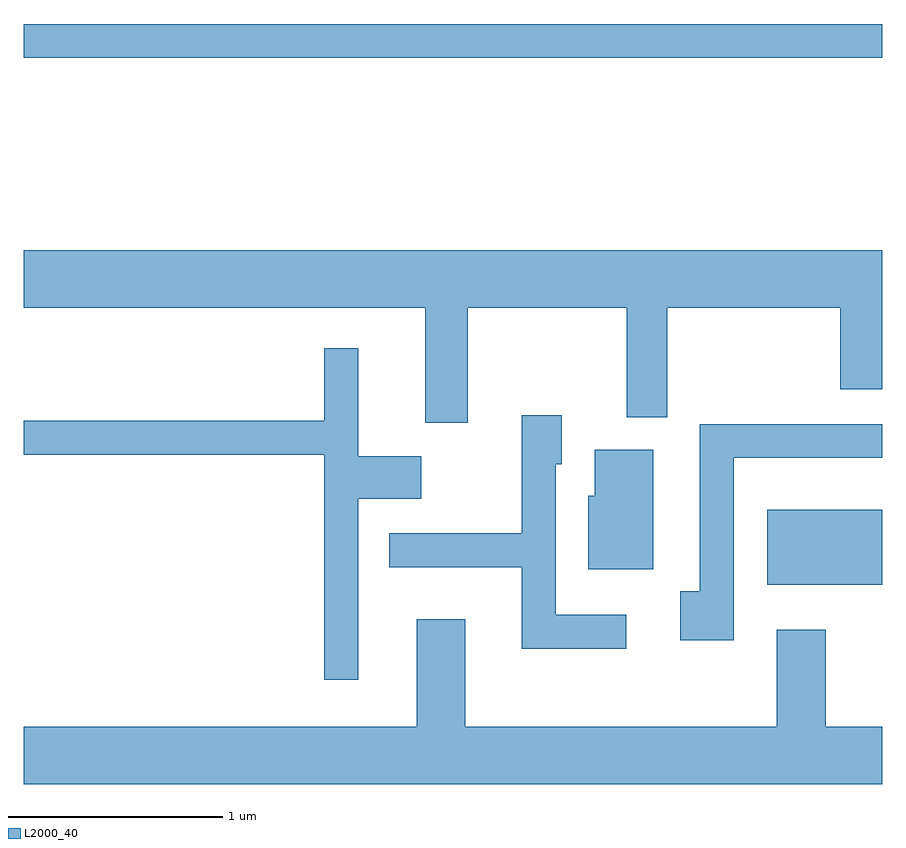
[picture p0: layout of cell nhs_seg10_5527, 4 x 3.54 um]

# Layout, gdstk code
import gdstk
lib = gdstk.Library(unit=1e-6, precision=1e-09)
def R(c, l, rs):  # rectangles x0, y0, x1, y1
    for r in rs: c.add(gdstk.rectangle(r[:2], r[2:], *l))
def P(c, l, *ps):  # polygons
    for p in ps: c.add(gdstk.Polygon(p, *l))
L2000_40 = (2000, 40)

nhs_seg10_5527 = lib.new_cell('nhs_seg10_5527')
R(nhs_seg10_5527, L2000_40, [(351.076,2165.906,351.611,2166.254), (347.611,2168.361,351.611,2168.519)])
P(nhs_seg10_5527, L2000_40, [(349.679,2167.196),(350.421,2167.196),(350.421,2166.686),(350.609,2166.686),(350.609,2167.196),(351.416,2167.196),(351.416,2166.816),(351.611,2166.816),(351.611,2167.464),(347.611,2167.464),(347.611,2167.196),(349.481,2167.196),(349.481,2166.661),(349.679,2166.661)],
  [(349.169,2166.306),(349.464,2166.306),(349.464,2166.504),(349.169,2166.504),(349.169,2167.008),(349.011,2167.008),(349.011,2166.669),(347.611,2166.669),(347.611,2166.511),(349.011,2166.511),(349.011,2165.463),(349.169,2165.463)],
  [(350.418,2165.764),(350.089,2165.764),(350.089,2166.466),(350.119,2166.466),(350.119,2166.694),(349.931,2166.694),(349.931,2166.144),(349.313,2166.144),(349.313,2165.986),(349.931,2165.986),(349.931,2165.606),(350.418,2165.606)],
  [(350.919,2166.496),(351.611,2166.496),(351.611,2166.654),(350.761,2166.654),(350.761,2165.874),(350.671,2165.874),(350.671,2165.646),(350.919,2165.646)],
  [(350.544,2166.534),(350.271,2166.534),(350.271,2166.319),(350.241,2166.319),(350.241,2165.976),(350.544,2165.976)],
  [(351.611,2165.244),(351.349,2165.244),(351.349,2165.694),(351.121,2165.694),(351.121,2165.244),(349.669,2165.244),(349.669,2165.744),(349.441,2165.744),(349.441,2165.244),(347.611,2165.244),(347.611,2164.976),(351.611,2164.976)])

lib.write_gds('nhs_seg10_5527.gds')
